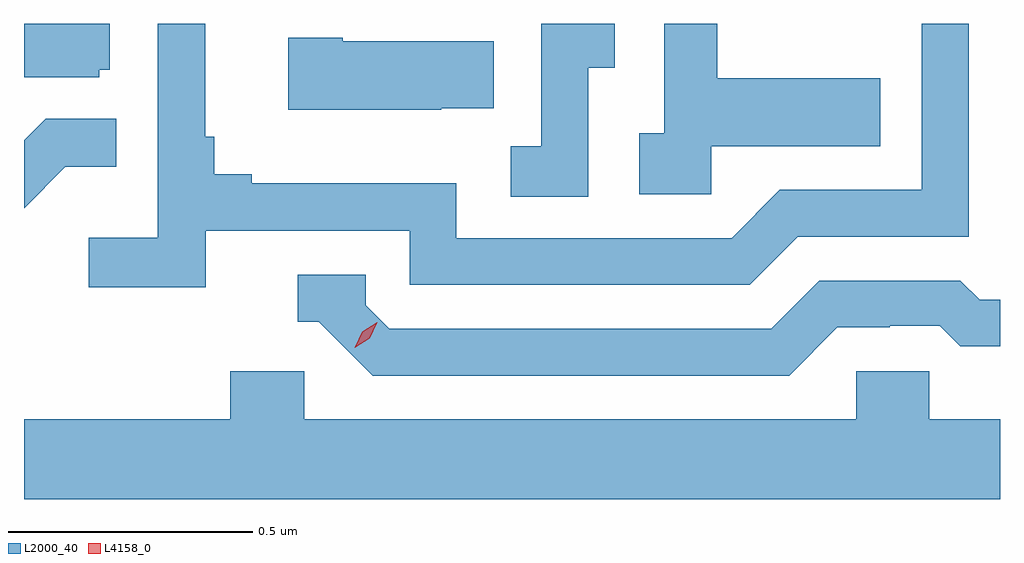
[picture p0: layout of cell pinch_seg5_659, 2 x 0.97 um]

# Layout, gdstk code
import gdstk
lib = gdstk.Library(unit=1e-6, precision=1e-09)
def P(c, l, *ps):  # polygons
    for p in ps: c.add(gdstk.Polygon(p, *l))
L2000_40 = (2000, 40)
L4158_0 = (4158, 0)

pinch_seg5_659 = lib.new_cell('pinch_seg5_659')
P(pinch_seg5_659, L2000_40, [(1042.746,834.839),(1043.093,834.839),(1043.093,834.979),(1042.759,834.979),(1042.759,835.09),(1042.65,835.09),(1042.65,834.866),(1042.599,834.866),(1042.599,834.741),(1042.746,834.741)],
  [(1041.492,834.996),(1041.514,834.996),(1041.514,835.09),(1041.338,835.09),(1041.338,834.981),(1041.492,834.981)],
  [(1042.494,835),(1042.549,835),(1042.549,835.09),(1042.398,835.09),(1042.398,834.839),(1042.335,834.839),(1042.335,834.736),(1042.494,834.736)],
  [(1041.71,834.666),(1042.128,834.666),(1042.128,834.555),(1042.825,834.555),(1042.924,834.654),(1043.274,834.654),(1043.274,835.09),(1043.178,835.09),(1043.178,834.75),(1042.887,834.75),(1042.788,834.651),(1042.224,834.651),(1042.224,834.763),(1041.805,834.763),(1041.805,834.782),(1041.728,834.782),(1041.728,834.859),(1041.709,834.859),(1041.709,835.09),(1041.612,835.09),(1041.612,834.652),(1041.471,834.652),(1041.471,834.55),(1041.71,834.55)],
  [(1042.193,834.917),(1042.301,834.917),(1042.301,835.054),(1041.991,835.054),(1041.991,835.062),(1041.879,835.062),(1041.879,834.914),(1042.193,834.914)],
  [(1041.423,834.797),(1041.527,834.797),(1041.527,834.896),(1041.383,834.896),(1041.338,834.851),(1041.338,834.712)],
  [(1043.005,834.468),(1043.112,834.468),(1043.112,834.471),(1043.215,834.471),(1043.257,834.429),(1043.338,834.429),(1043.338,834.525),(1043.296,834.525),(1043.257,834.564),(1042.968,834.564),(1042.869,834.465),(1042.086,834.465),(1042.038,834.513),(1042.038,834.576),(1041.899,834.576),(1041.899,834.48),(1041.942,834.48),(1042.053,834.369),(1042.906,834.369)],
  [(1043.338,834.28),(1043.193,834.28),(1043.193,834.378),(1043.043,834.378),(1043.043,834.28),(1041.912,834.28),(1041.912,834.378),(1041.761,834.378),(1041.761,834.28),(1041.338,834.28),(1041.338,834.116),(1043.338,834.116)])
P(pinch_seg5_659, L4158_0, [(1042.016,834.426),(1042.016,834.426),(1042.031,834.459),(1042.062,834.479),(1042.062,834.479),(1042.062,834.479),(1042.046,834.446),(1042.016,834.426)])

lib.write_gds('pinch_seg5_659.gds')
